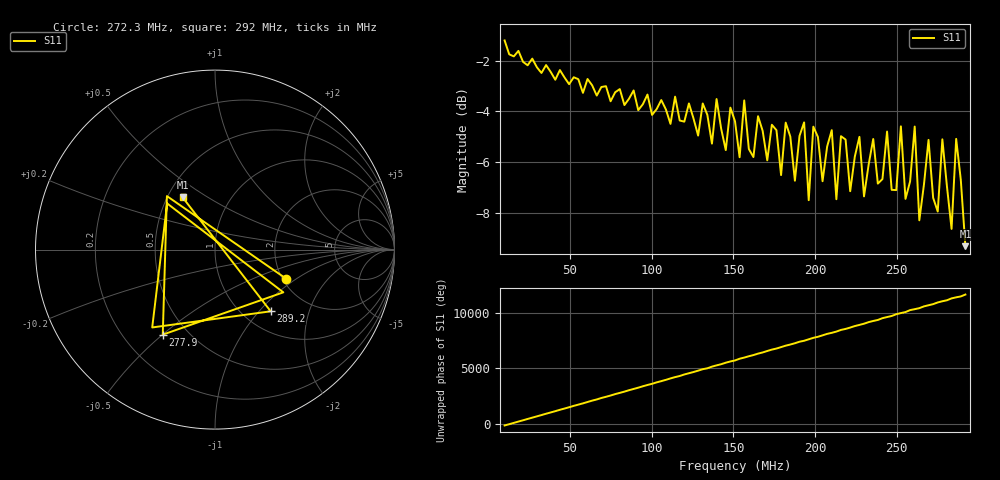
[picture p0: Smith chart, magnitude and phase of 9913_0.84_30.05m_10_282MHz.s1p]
! File created by NanoVNA (https://gen111.taobao.com/)
! Start 10000000Hz  Stop 292000000Hz  Points 101
# HZ S MA R 50
!S - Parameter data, F S11
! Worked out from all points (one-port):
!   101 points, 10 MHz to 292 MHz, reference 50 ohm
!   lowest |S11| = -9.3 dB at 292 MHz (marker M1), VSWR 2.04, Z = 29.8 + j19.7 ohm
!   |S11| at or under -10 dB: nowhere
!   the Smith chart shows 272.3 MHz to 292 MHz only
!   S11 on the Smith chart (normalised r, x): 272.3 MHz: 2.09, -0.82; 277.9 MHz: 0.37, -0.50; 289.2 MHz: 1.32, -1.16; 292 MHz: 0.60, +0.39
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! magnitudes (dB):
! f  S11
! 10 MHz  -1.2
! 46.66 MHz  -2.7
! 80.5 MHz  -3.1
! 117.2 MHz  -4.4
! 151 MHz  -4.4
! 179.2 MHz  -6.5
! 182 MHz  -4.4
! 187.7 MHz  -6.7
! 193.3 MHz  -4.4
! 196.1 MHz  -7.5
! 198.9 MHz  -4.6
! 213 MHz  -7.5
! 218.7 MHz  -5.1
! 221.5 MHz  -7.1
! 244.1 MHz  -4.8
! 249.7 MHz  -7.1
! 252.5 MHz  -4.6
! 255.3 MHz  -7.4
! 258.2 MHz  -6.8
! 261 MHz  -4.6
! 263.8 MHz  -8.3
! 269.4 MHz  -5.1
! 272.3 MHz  -7.4
! 277.9 MHz  -5.1
! 283.5 MHz  -8.6
! 286.4 MHz  -5.1
! 289.2 MHz  -6.7
! 292 MHz  -9.3
